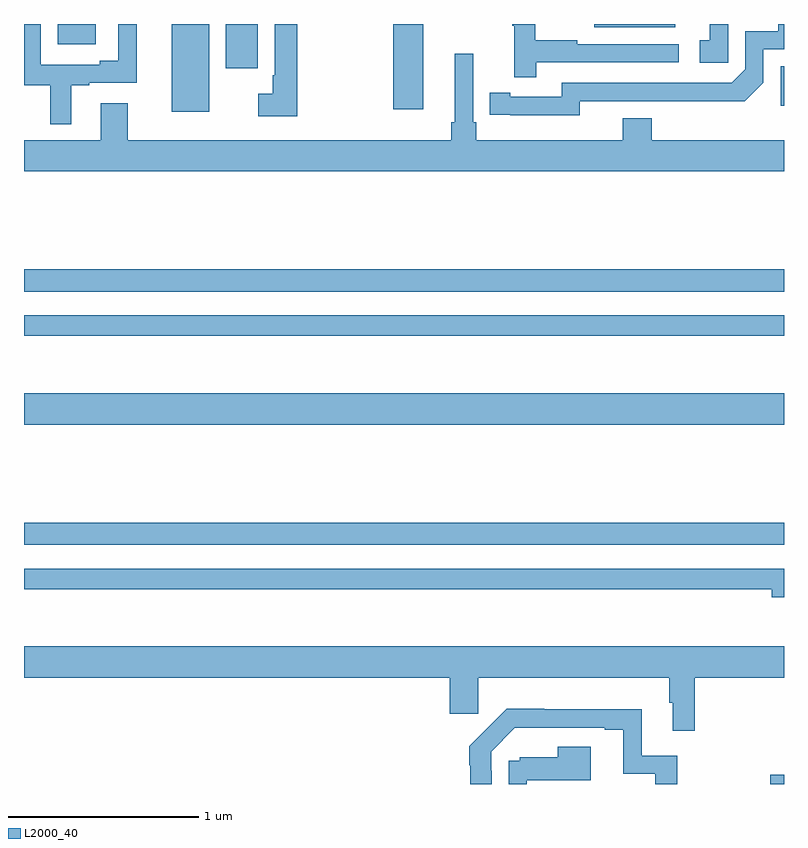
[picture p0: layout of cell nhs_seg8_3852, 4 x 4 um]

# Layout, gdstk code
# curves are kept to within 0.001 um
import gdstk
lib = gdstk.Library(unit=1e-6, precision=1e-09)
def R(c, l, rs):  # rectangles x0, y0, x1, y1
    for r in rs: c.add(gdstk.rectangle(r[:2], r[2:], *l))
def P(c, l, *ps):  # polygons
    for p in ps: c.add(gdstk.Polygon(p, *l))
L2000_40 = (2000, 40)

nhs_seg8_3852 = lib.new_cell('nhs_seg8_3852')
R(nhs_seg8_3852, L2000_40, [(350.928,1155.9,351,1155.95), (347,1157.16,351,1157.276), (347,1157.792,351,1157.956), (347,1158.258,351,1158.366), (347,1158.492,351,1158.608), (347.777,1159.439,347.974,1159.9), (348.944,1159.452,349.102,1159.9), (350.982,1159.47,351,1159.677), (348.062,1159.668,348.229,1159.9), (347.177,1159.793,347.377,1159.9), (350.001,1159.883,350.428,1159.9)])
P(nhs_seg8_3852, L2000_40, [(348.437,1159.9),(348.321,1159.9),(348.321,1159.63),(348.309,1159.63),(348.309,1159.534),(348.234,1159.534),(348.234,1159.415),(348.437,1159.415)],
  [(349.697,1159.698),(350.446,1159.698),(350.446,1159.794),(349.913,1159.794),(349.913,1159.814),(349.69,1159.814),(349.69,1159.9),(349.569,1159.9),(349.569,1159.891),(349.58,1159.891),(349.58,1159.62),(349.697,1159.62)],
  [(349.926,1159.494),(350.794,1159.493),(350.892,1159.59),(350.892,1159.767),(351,1159.767),(351,1159.9),(350.969,1159.9),(350.969,1159.863),(350.796,1159.863),(350.796,1159.662),(350.724,1159.59),(349.83,1159.59),(349.83,1159.518),(349.558,1159.518),(349.558,1159.538),(349.45,1159.538),(349.45,1159.422),(349.926,1159.421)],
  [(347.248,1159.578),(347.344,1159.578),(347.344,1159.59),(347.594,1159.59),(347.594,1159.9),(347.496,1159.9),(347.496,1159.706),(347.399,1159.706),(347.399,1159.686),(347.088,1159.686),(347.088,1159.9),(347,1159.9),(347,1159.578),(347.139,1159.578),(347.139,1159.373),(347.248,1159.373)],
  [(350.706,1159.9),(350.609,1159.9),(350.609,1159.815),(350.556,1159.815),(350.556,1159.695),(350.706,1159.695)],
  [(351,1159.288),(350.303,1159.288),(350.303,1159.405),(350.15,1159.405),(350.15,1159.288),(349.379,1159.288),(349.379,1159.384),(349.365,1159.384),(349.365,1159.744),(349.268,1159.744),(349.268,1159.384),(349.249,1159.384),(349.249,1159.288),(347.545,1159.288),(347.545,1159.483),(347.405,1159.483),(347.405,1159.288),(347,1159.288),(347,1159.124),(351,1159.124)],
  [(351,1157.034),(347,1157.034),(347,1156.926),(350.936,1156.926),(350.936,1156.883),(351,1156.883)],
  [(350.531,1156.46),(351,1156.46),(351,1156.624),(347,1156.624),(347,1156.46),(349.241,1156.46),(349.241,1156.269),(349.391,1156.269),(349.391,1156.46),(350.395,1156.46),(350.395,1156.328),(350.414,1156.328),(350.414,1156.179),(350.531,1156.179)],
  [(349.461,1155.971),(349.458,1155.971),(349.458,1156.071),(349.584,1156.197),(350.057,1156.197),(350.057,1156.185),(350.153,1156.185),(350.153,1155.954),(350.322,1155.954),(350.322,1155.9),(350.438,1155.9),(350.438,1156.05),(350.251,1156.05),(350.251,1156.294),(349.739,1156.294),(349.739,1156.297),(349.54,1156.297),(349.343,1156.099),(349.343,1155.998),(349.349,1155.998),(349.349,1155.9),(349.461,1155.9)],
  [(349.647,1155.92),(349.984,1155.92),(349.984,1156.096),(349.808,1156.096),(349.808,1156.042),(349.608,1156.042),(349.608,1156.023),(349.551,1156.023),(349.551,1155.9),(349.647,1155.9)])

lib.write_gds('nhs_seg8_3852.gds')
